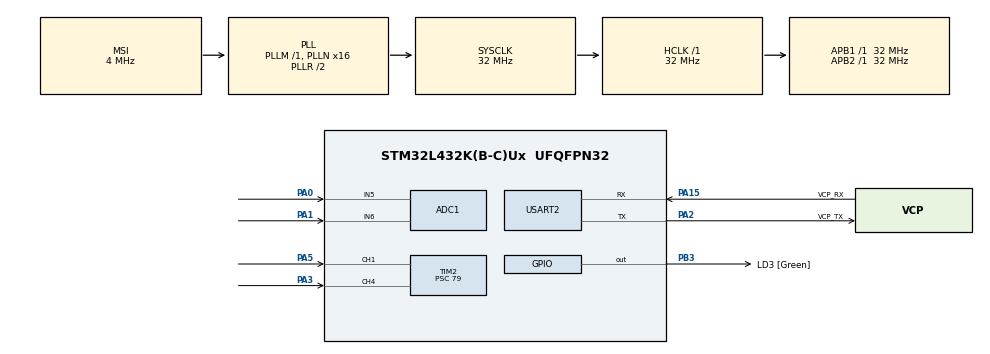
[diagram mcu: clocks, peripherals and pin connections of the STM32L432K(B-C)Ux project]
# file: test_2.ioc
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ADC1.Channel-0\#ChannelRegularConversion=ADC_CHANNEL_5
ADC1.NbrOfConversionFlag=1
ADC1.OffsetNumber-0\#ChannelRegularConversion=ADC_OFFSET_NONE
ADC1.Rank-0\#ChannelRegularConversion=1
ADC1.SamplingTime-0\#ChannelRegularConversion=ADC_SAMPLETIME_2CYCLES_5
ADC1.master=1
Mcu.Family=STM32L4
Mcu.Name=STM32L432K(B-C)Ux
Mcu.Package=UFQFPN32
NVIC.ADC1_IRQn=true\:0\:0\:false\:false\:true\:true\:true\:true
NVIC.PriorityGroup=NVIC_PRIORITYGROUP_4
NVIC.TIM2_IRQn=true\:0\:0\:false\:false\:true\:true\:true\:true
PA0.Signal=ADCx_IN5
PA1.Signal=ADCx_IN6
PA13\ (JTMS-SWDIO).GPIO_Label=SWDIO
PA13\ (JTMS-SWDIO).Mode=Serial_Wire
PA13\ (JTMS-SWDIO).Signal=SYS_JTMS-SWDIO
PA14\ (JTCK-SWCLK).GPIO_Label=SWCLK
PA14\ (JTCK-SWCLK).Mode=Serial_Wire
PA14\ (JTCK-SWCLK).Signal=SYS_JTCK-SWCLK
PA15\ (JTDI).GPIO_Label=VCP_RX
PA15\ (JTDI).Mode=Asynchronous
PA15\ (JTDI).Signal=USART2_RX
PA2.GPIO_Label=VCP_TX
PA2.Mode=Asynchronous
PA2.Signal=USART2_TX
PA3.Signal=S_TIM2_CH4
PA5.Signal=S_TIM2_CH1
PB3\ (JTDO-TRACESWO).GPIO_Label=LD3 [Green]
PB3\ (JTDO-TRACESWO).Signal=GPIO_Output
PC14-OSC32_IN\ (PC14).Mode=LSE-External-Oscillator
PC14-OSC32_IN\ (PC14).Signal=RCC_OSC32_IN
PC15-OSC32_OUT\ (PC15).Mode=LSE-External-Oscillator
PC15-OSC32_OUT\ (PC15).Signal=RCC_OSC32_OUT
ProjectManager.HeapSize=0x200
ProjectManager.StackSize=0x400
ProjectManager.TargetToolchain=STM32CubeIDE
RCC.ADCFreq_Value=32000000
RCC.AHBFreq_Value=32000000
RCC.APB1Freq_Value=32000000
RCC.APB1TimFreq_Value=32000000
RCC.APB2Freq_Value=32000000
RCC.APB2TimFreq_Value=32000000
RCC.CortexFreq_Value=32000000
RCC.HCLKFreq_Value=32000000
RCC.HSE_VALUE=8000000
RCC.HSI16_VALUE=16000000
RCC.HSI48_VALUE=48000000
RCC.HSI_VALUE=16000000
RCC.MSI_VALUE=4000000
RCC.PLLMUL=RCC_PLLMUL_4
RCC.PLLN=16
RCC.PLLSAI1N=16
RCC.SYSCLKFreq_VALUE=32000000
RCC.SYSCLKSource=RCC_SYSCLKSOURCE_PLLCLK
RCC.USBFreq_Value=32000000
RCC.VCOOutputFreq_Value=64000000
SH.ADCx_IN5.0=ADC1_IN5,IN5-Single-Ended
SH.ADCx_IN6.0=ADC1_IN6,IN6-Single-Ended
SH.S_TIM2_CH1.0=TIM2_CH1,Input_Capture1_from_TI1
SH.S_TIM2_CH4.0=TIM2_CH4,Input_Capture4_from_TI4
TIM2.Channel-Input_Capture1_from_TI1=TIM_CHANNEL_1
TIM2.Channel-Input_Capture4_from_TI4=TIM_CHANNEL_4
TIM2.Prescaler=79
USART2.VirtualMode-Asynchronous=VM_ASYNC
board=NUCLEO-L432KC

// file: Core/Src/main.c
/* USER CODE BEGIN Header */
/**
  ******************************************************************************
  * @file           : main.c
  * @brief          : Project Nephros — Flow + Pressure Monitor (merged)
  ******************************************************************************
  * @attention
  *
  * Copyright (c) 2026 STMicroelectronics.
  * All rights reserved.
  *
  * This software is licensed under terms that can be found in the LICENSE file
  * in the root directory of this software component.
  * If no LICENSE file comes with this software, it is provided AS-IS.
  *
  ******************************************************************************
  *
  * Architecture:
  *  - Flow sensor on PA3 (TIM2_CH4 input capture, interrupt-driven pulse count)
  *    Pulses are integrated over 1-second windows. Result feeds a 10-sample MA.
  *  - Pressure sensors on PA0 (ADC1_IN5) and PA1 (ADC1_IN6), interrupt-driven
  *    sequential conversions, sampled every 500 ms. Each sensor has its own
  *    10-sample MA (covering 5 s of history at 500 ms cadence).
  *  - Combined line printed every 500 ms over USART2.
  *  - Non-blocking main loop using HAL_GetTick() — no HAL_Delay anywhere.
  ******************************************************************************
  */
/* USER CODE END Header */
#include "main.h"

/* USER CODE BEGIN PD */
/* Pressure sensor scaling */
#define ADC_MAX_COUNT        4095.0f
#define VREF_VOLTS           3.3f
#define DIVIDER_RATIO        0.5f
#define SENSOR_V_AT_ZERO     0.5f
#define SENSOR_VOLTAGE_SPAN  4.0f
#define SENSOR_PSI_MAX       30.0f

/* Timing */
#define FLOW_PERIOD_MS       500U   /* pulse integration window */
#define PRESSURE_PERIOD_MS   500U    /* ADC sample + print cadence */
#define UART_TIMEOUT_MS      100U

/* Flow scaling: pulses/sec to L/min uses sensor K-factor (5880 pulses per L) */
#define FLOW_PULSES_PER_LITRE  5880.0

/* Moving average buffers */
#define MA_DEPTH             10
/* USER CODE END PD */

ADC_HandleTypeDef hadc1;

TIM_HandleTypeDef htim2;

UART_HandleTypeDef huart2;

/* USER CODE BEGIN PV */
/* --- Flow (written by ISR, read by main) --- */
volatile uint32_t pulse_count_1 = 0;   /* TIM2_CH1 / PA5 */
volatile uint32_t pulse_count_4 = 0;   /* TIM2_CH4 / PA3 */

/* Flow MA */
typedef struct {
    double  buffer[MA_DEPTH];
    uint8_t index;
    uint8_t filled;
    double  latest_mLmin;
    double  avg_mLmin;
} flow_ma_t;
static flow_ma_t flow1 = {0};   /* PA5 / CH1 */
static flow_ma_t flow2 = {0};   /* PA3 / CH4 */

/* --- Pressure (ISR writes raws, main consumes) --- */
static volatile uint8_t  current_channel = 0;
static volatile uint32_t raw_sensor1 = 0;
static volatile uint32_t raw_sensor2 = 0;
static volatile uint8_t  data_ready = 0;

/* Pressure MAs */
static float   p1_buffer[MA_DEPTH] = {0};
static float   p2_buffer[MA_DEPTH] = {0};
static uint8_t p_index = 0;
static uint8_t p_filled = 0;

/* --- Timing --- */
static uint32_t last_flow_tick = 0;
static uint32_t last_pressure_tick = 0;

/* Startup message latch */
static uint8_t startup_msg_sent = 0;
/* USER CODE END PV */

void SystemClock_Config(void);
static void MX_GPIO_Init(void);
static void MX_USART2_UART_Init(void);
static void MX_ADC1_Init(void);
static void MX_TIM2_Init(void);
/* USER CODE BEGIN PFP */
static void flow_update(flow_ma_t *f, uint32_t window_pulses);
static void  pressure_start_sequence(void);
static float adc_counts_to_volts(uint32_t raw_count);
static float sensor_volts_to_psi(float sensor_volts);
static void  uart_print(const char *message);
static void  print_combined_line(void);
/* USER CODE END PFP */

int main(void)
{

  /* MCU Configuration--------------------------------------------------------*/

  /* Reset of all peripherals, Initializes the Flash interface and the Systick. */
  HAL_Init();

  /* Configure the system clock */
  SystemClock_Config();

  /* Initialize all configured peripherals */
  MX_GPIO_Init();
  MX_USART2_UART_Init();
  MX_ADC1_Init();
  MX_TIM2_Init();
  /* USER CODE BEGIN 2 */
  /* ADC self-calibration before first conversion */
  if (HAL_ADCEx_Calibration_Start(&hadc1, ADC_SINGLE_ENDED) != HAL_OK)
  {
      Error_Handler();
  }

  /* Start flow capture */
  HAL_TIM_IC_Start_IT(&htim2, TIM_CHANNEL_1);
  HAL_TIM_IC_Start_IT(&htim2, TIM_CHANNEL_4);

  uart_print("\r\n===================================\r\n");
  uart_print("  Project Nephros — Flow + Pressure\r\n");
  uart_print("  Flow: PA3 / PA5 (TIM2_CH4 / TIM2_CH1)\r\n");
  uart_print("  Pressure: PA0 / PA1 (ADC1)\r\n");
  uart_print("  Print cadence: 500 ms\r\n");
  uart_print("===================================\r\n\r\n");

  last_flow_tick     = HAL_GetTick();
  last_pressure_tick = HAL_GetTick();
  /* USER CODE END 2 */

  /* Infinite loop */
  /* USER CODE BEGIN WHILE */
  while (1)
  {
      uint32_t now = HAL_GetTick();

      /* --- Flow window: integrate pulses over 1 second --- */
      if (now - last_flow_tick >= FLOW_PERIOD_MS)
      {
          last_flow_tick += FLOW_PERIOD_MS;

          __disable_irq();
          uint32_t p1 = pulse_count_1; pulse_count_1 = 0;
          uint32_t p4 = pulse_count_4; pulse_count_4 = 0;
          __enable_irq();

          flow_update(&flow1, p1);
          flow_update(&flow2, p4);
      }

      /* --- Pressure sample + combined print every 500 ms --- */
      if (now - last_pressure_tick >= PRESSURE_PERIOD_MS)
      {
          last_pressure_tick += PRESSURE_PERIOD_MS;

          /* Kick off interrupt-driven dual-channel ADC */
          pressure_start_sequence();

          /* Wait for both channels (typically <1 ms total at 247.5 cycles
             sampling + 12.5 cycles conv * 2 channels). Bounded by a tick
             to avoid lockup if ADC misbehaves. */
          uint32_t wait_start = HAL_GetTick();
          while (!data_ready)
          {
              if (HAL_GetTick() - wait_start > 10) break;  /* safety bail */
          }

          if (data_ready)
          {
              data_ready = 0;
              uint32_t s1 = raw_sensor1;
              uint32_t s2 = raw_sensor2;

              float psi1 = sensor_volts_to_psi(adc_counts_to_volts(s1) / DIVIDER_RATIO);
              float psi2 = sensor_volts_to_psi(adc_counts_to_volts(s2) / DIVIDER_RATIO);

              /* Push into MA buffers */
              p1_buffer[p_index] = psi1;
              p2_buffer[p_index] = psi2;
              p_index = (p_index + 1) % MA_DEPTH;
              if (p_filled < MA_DEPTH) p_filled++;
          }

          print_combined_line();
      }
  }
    /* USER CODE END WHILE */

}

void SystemClock_Config(void)
{
  RCC_OscInitTypeDef RCC_OscInitStruct = {0};
  RCC_ClkInitTypeDef RCC_ClkInitStruct = {0};

  /** Configure the main internal regulator output voltage
  */
  if (HAL_PWREx_ControlVoltageScaling(PWR_REGULATOR_VOLTAGE_SCALE1) != HAL_OK)
  {
    Error_Handler();
  }

  /** Configure LSE Drive Capability
  */
  HAL_PWR_EnableBkUpAccess();
  __HAL_RCC_LSEDRIVE_CONFIG(RCC_LSEDRIVE_LOW);

  /** Initializes the RCC Oscillators according to the specified parameters
  * in the RCC_OscInitTypeDef structure.
  */
  RCC_OscInitStruct.OscillatorType = RCC_OSCILLATORTYPE_LSE|RCC_OSCILLATORTYPE_MSI;
  RCC_OscInitStruct.LSEState = RCC_LSE_ON;
  RCC_OscInitStruct.MSIState = RCC_MSI_ON;
  RCC_OscInitStruct.MSICalibrationValue = 0;
  RCC_OscInitStruct.MSIClockRange = RCC_MSIRANGE_6;
  RCC_OscInitStruct.PLL.PLLState = RCC_PLL_ON;
  RCC_OscInitStruct.PLL.PLLSource = RCC_PLLSOURCE_MSI;
  RCC_OscInitStruct.PLL.PLLM = 1;
  RCC_OscInitStruct.PLL.PLLN = 16;
  RCC_OscInitStruct.PLL.PLLP = RCC_PLLP_DIV7;
  RCC_OscInitStruct.PLL.PLLQ = RCC_PLLQ_DIV2;
  RCC_OscInitStruct.PLL.PLLR = RCC_PLLR_DIV2;
  if (HAL_RCC_OscConfig(&RCC_OscInitStruct) != HAL_OK)
  {
    Error_Handler();
  }

  /** Initializes the CPU, AHB and APB buses clocks
  */
  RCC_ClkInitStruct.ClockType = RCC_CLOCKTYPE_HCLK|RCC_CLOCKTYPE_SYSCLK
                              |RCC_CLOCKTYPE_PCLK1|RCC_CLOCKTYPE_PCLK2;
  RCC_ClkInitStruct.SYSCLKSource = RCC_SYSCLKSOURCE_PLLCLK;
  RCC_ClkInitStruct.AHBCLKDivider = RCC_SYSCLK_DIV1;
  RCC_ClkInitStruct.APB1CLKDivider = RCC_HCLK_DIV1;
  RCC_ClkInitStruct.APB2CLKDivider = RCC_HCLK_DIV1;

  if (HAL_RCC_ClockConfig(&RCC_ClkInitStruct, FLASH_LATENCY_1) != HAL_OK)
  {
    Error_Handler();
  }

  /** Enable MSI Auto calibration
  */
  HAL_RCCEx_EnableMSIPLLMode();
}

static void MX_ADC1_Init(void)
{

  ADC_ChannelConfTypeDef sConfig = {0};

  /** Common config
  */
  hadc1.Instance = ADC1;
  hadc1.Init.ClockPrescaler = ADC_CLOCK_ASYNC_DIV1;
  hadc1.Init.Resolution = ADC_RESOLUTION_12B;
  hadc1.Init.DataAlign = ADC_DATAALIGN_RIGHT;
  hadc1.Init.ScanConvMode = ADC_SCAN_DISABLE;
  hadc1.Init.EOCSelection = ADC_EOC_SINGLE_CONV;
  hadc1.Init.LowPowerAutoWait = DISABLE;
  hadc1.Init.ContinuousConvMode = DISABLE;
  hadc1.Init.NbrOfConversion = 1;
  hadc1.Init.DiscontinuousConvMode = DISABLE;
  hadc1.Init.ExternalTrigConv = ADC_SOFTWARE_START;
  hadc1.Init.ExternalTrigConvEdge = ADC_EXTERNALTRIGCONVEDGE_NONE;
  hadc1.Init.DMAContinuousRequests = DISABLE;
  hadc1.Init.Overrun = ADC_OVR_DATA_PRESERVED;
  hadc1.Init.OversamplingMode = DISABLE;
  if (HAL_ADC_Init(&hadc1) != HAL_OK)
  {
    Error_Handler();
  }

  /** Configure Regular Channel
  */
  sConfig.Channel = ADC_CHANNEL_5;
  sConfig.Rank = ADC_REGULAR_RANK_1;
  sConfig.SamplingTime = ADC_SAMPLETIME_2CYCLES_5;
  sConfig.SingleDiff = ADC_SINGLE_ENDED;
  sConfig.OffsetNumber = ADC_OFFSET_NONE;
  sConfig.Offset = 0;
  if (HAL_ADC_ConfigChannel(&hadc1, &sConfig) != HAL_OK)
  {
    Error_Handler();
  }

}

static void MX_TIM2_Init(void)
{

  TIM_MasterConfigTypeDef sMasterConfig = {0};
  TIM_IC_InitTypeDef sConfigIC = {0};

  htim2.Instance = TIM2;
  htim2.Init.Prescaler = 79;
  htim2.Init.CounterMode = TIM_COUNTERMODE_UP;
  htim2.Init.Period = 4294967295;
  htim2.Init.ClockDivision = TIM_CLOCKDIVISION_DIV1;
  htim2.Init.AutoReloadPreload = TIM_AUTORELOAD_PRELOAD_DISABLE;
  if (HAL_TIM_IC_Init(&htim2) != HAL_OK)
  {
    Error_Handler();
  }
  sMasterConfig.MasterOutputTrigger = TIM_TRGO_RESET;
  sMasterConfig.MasterSlaveMode = TIM_MASTERSLAVEMODE_DISABLE;
  if (HAL_TIMEx_MasterConfigSynchronization(&htim2, &sMasterConfig) != HAL_OK)
  {
    Error_Handler();
  }
  sConfigIC.ICPolarity = TIM_INPUTCHANNELPOLARITY_RISING;
  sConfigIC.ICSelection = TIM_ICSELECTION_DIRECTTI;
  sConfigIC.ICPrescaler = TIM_ICPSC_DIV1;
  sConfigIC.ICFilter = 0;
  if (HAL_TIM_IC_ConfigChannel(&htim2, &sConfigIC, TIM_CHANNEL_1) != HAL_OK)
  {
    Error_Handler();
  }
  if (HAL_TIM_IC_ConfigChannel(&htim2, &sConfigIC, TIM_CHANNEL_4) != HAL_OK)
  {
    Error_Handler();
  }

}

static void MX_USART2_UART_Init(void)
{

  huart2.Instance = USART2;
  huart2.Init.BaudRate = 115200;
  huart2.Init.WordLength = UART_WORDLENGTH_8B;
  huart2.Init.StopBits = UART_STOPBITS_1;
  huart2.Init.Parity = UART_PARITY_NONE;
  huart2.Init.Mode = UART_MODE_TX_RX;
  huart2.Init.HwFlowCtl = UART_HWCONTROL_NONE;
  huart2.Init.OverSampling = UART_OVERSAMPLING_16;
  huart2.Init.OneBitSampling = UART_ONE_BIT_SAMPLE_DISABLE;
  huart2.AdvancedInit.AdvFeatureInit = UART_ADVFEATURE_NO_INIT;
  if (HAL_UART_Init(&huart2) != HAL_OK)
  {
    Error_Handler();
  }

}

static void MX_GPIO_Init(void)
{
  GPIO_InitTypeDef GPIO_InitStruct = {0};

  /* GPIO Ports Clock Enable */
  __HAL_RCC_GPIOC_CLK_ENABLE();
  __HAL_RCC_GPIOA_CLK_ENABLE();
  __HAL_RCC_GPIOB_CLK_ENABLE();

  /*Configure GPIO pin Output Level */
  HAL_GPIO_WritePin(LD3_GPIO_Port, LD3_Pin, GPIO_PIN_RESET);

  /*Configure GPIO pin : LD3_Pin */
  GPIO_InitStruct.Pin = LD3_Pin;
  GPIO_InitStruct.Mode = GPIO_MODE_OUTPUT_PP;
  GPIO_InitStruct.Pull = GPIO_NOPULL;
  GPIO_InitStruct.Speed = GPIO_SPEED_FREQ_LOW;
  HAL_GPIO_Init(LD3_GPIO_Port, &GPIO_InitStruct);

}

/* USER CODE BEGIN 4 */

/* ---------------- Flow ---------------- */

void HAL_TIM_IC_CaptureCallback(TIM_HandleTypeDef *htim)
{
    if (htim->Instance != TIM2) return;

    if (htim->Channel == HAL_TIM_ACTIVE_CHANNEL_1)
    {
        pulse_count_1++;
    }
    else if (htim->Channel == HAL_TIM_ACTIVE_CHANNEL_4)
    {
        pulse_count_4++;
        HAL_GPIO_TogglePin(LD3_GPIO_Port, LD3_Pin);  /* keep heartbeat on one channel */
    }
}

static void flow_update(flow_ma_t *f, uint32_t window_pulses)
{
    double flow_Lmin  = (double)window_pulses * 60.0 / FLOW_PULSES_PER_LITRE;
    double flow_mLmin = flow_Lmin * 1000.0;

    f->latest_mLmin = flow_mLmin;
    f->buffer[f->index] = flow_mLmin;
    f->index = (f->index + 1) % MA_DEPTH;
    if (f->filled < MA_DEPTH) f->filled++;

    if (f->filled >= MA_DEPTH)
    {
        double sum = 0;
        for (int i = 0; i < MA_DEPTH; i++) sum += f->buffer[i];
        f->avg_mLmin = sum / (double)MA_DEPTH;
    }
}

/* ---------------- Pressure ---------------- */

static void pressure_start_sequence(void)
{
    ADC_ChannelConfTypeDef sConfig = {0};
    current_channel = 1;
    sConfig.Channel      = ADC_CHANNEL_5;
    sConfig.Rank         = ADC_REGULAR_RANK_1;
    sConfig.SamplingTime = ADC_SAMPLETIME_247CYCLES_5;
    sConfig.SingleDiff   = ADC_SINGLE_ENDED;
    sConfig.OffsetNumber = ADC_OFFSET_NONE;
    sConfig.Offset       = 0;
    if (HAL_ADC_ConfigChannel(&hadc1, &sConfig) != HAL_OK) Error_Handler();
    if (HAL_ADC_Start_IT(&hadc1) != HAL_OK) Error_Handler();
}

static float adc_counts_to_volts(uint32_t raw_count)
{
    return ((float)raw_count / ADC_MAX_COUNT) * VREF_VOLTS;
}

static float sensor_volts_to_psi(float sensor_volts)
{
    float psi = (sensor_volts - SENSOR_V_AT_ZERO) /
                (SENSOR_VOLTAGE_SPAN / SENSOR_PSI_MAX);
    if (psi < 0.0f)           psi = 0.0f;
    if (psi > SENSOR_PSI_MAX) psi = SENSOR_PSI_MAX;
    return psi;
}

void HAL_ADC_ConvCpltCallback(ADC_HandleTypeDef *hadc)
{
    if (hadc->Instance != ADC1) return;

    ADC_ChannelConfTypeDef sConfig = {0};

    if (current_channel == 1)
    {
        raw_sensor1 = HAL_ADC_GetValue(&hadc1);
        current_channel = 2;
        sConfig.Channel      = ADC_CHANNEL_6;
        sConfig.Rank         = ADC_REGULAR_RANK_1;
        sConfig.SamplingTime = ADC_SAMPLETIME_247CYCLES_5;
        sConfig.SingleDiff   = ADC_SINGLE_ENDED;
        sConfig.OffsetNumber = ADC_OFFSET_NONE;
        sConfig.Offset       = 0;
        HAL_ADC_ConfigChannel(&hadc1, &sConfig);
        HAL_ADC_Start_IT(&hadc1);
    }
    else if (current_channel == 2)
    {
        raw_sensor2 = HAL_ADC_GetValue(&hadc1);
        data_ready = 1;
    }
}

/* ---------------- UART ---------------- */

static void uart_print(const char *message)
{
    HAL_UART_Transmit(&huart2, (uint8_t *)message,
                      (uint16_t)strlen(message), UART_TIMEOUT_MS);
}

static void print_combined_line(void)
{
    char buffer[128];

    /* Wait for both MAs to fill before showing averages */
    if (flow1.filled < MA_DEPTH || flow2.filled < MA_DEPTH || p_filled < MA_DEPTH)
    {
        if (!startup_msg_sent)
        {
            uart_print("Please allow up to 10 seconds for the moving means to fill...\r\n");
            startup_msg_sent = 1;
        }
        return;
    }

    /* Pressure MA */
    float p1_sum = 0, p2_sum = 0;
    for (int i = 0; i < MA_DEPTH; i++) { p1_sum += p1_buffer[i]; p2_sum += p2_buffer[i];}
    float p1_avg = p1_sum / (float)MA_DEPTH;
    float p2_avg = p2_sum / (float)MA_DEPTH;

    snprintf(buffer, sizeof(buffer),
             "F1: %.2f mL/min | F2: %.2f mL/min | S1: %.2f PSI | S2: %.2f PSI\r\n",
             flow1.avg_mLmin, flow2.avg_mLmin, p1_avg, p2_avg);

    uart_print(buffer);
}

/* USER CODE END 4 */

void Error_Handler(void)
{
  __disable_irq();
  while (1)
  {
  }
}
